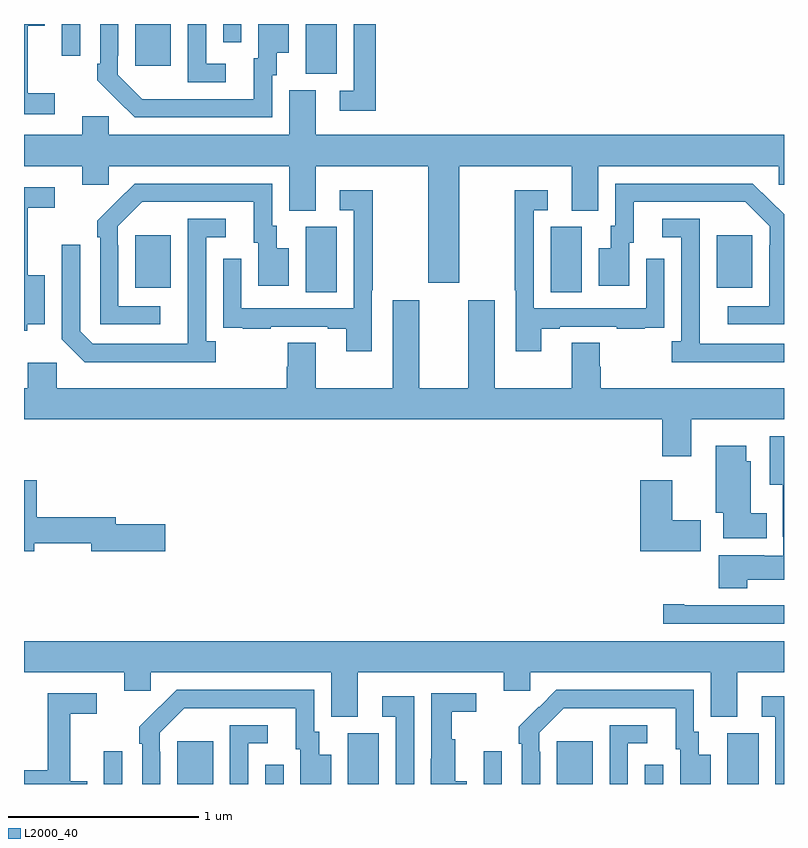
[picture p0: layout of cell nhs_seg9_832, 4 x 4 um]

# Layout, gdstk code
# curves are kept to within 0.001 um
import gdstk
lib = gdstk.Library(unit=1e-6, precision=1e-09)
def R(c, l, rs):  # rectangles x0, y0, x1, y1
    for r in rs: c.add(gdstk.rectangle(r[:2], r[2:], *l))
def P(c, l, *ps):  # polygons
    for p in ps: c.add(gdstk.Polygon(p, *l))
L2000_40 = (2000, 40)

nhs_seg9_832 = lib.new_cell('nhs_seg9_832')
R(nhs_seg9_832, L2000_40, [(155.421,1194.5,155.517,1194.673), (155.807,1194.5,155.995,1194.724), (156.27,1194.5,156.366,1194.601), (156.704,1194.5,156.868,1194.768), (157.419,1194.5,157.515,1194.673), (157.805,1194.5,157.993,1194.724), (158.268,1194.5,158.364,1194.601), (158.702,1194.5,158.866,1194.768), (156.482,1197.088,156.646,1197.432), (157.772,1197.088,157.936,1197.432), (155.585,1197.113,155.773,1197.388), (158.645,1197.113,158.833,1197.388), (156.482,1198.237,156.646,1198.5), (155.585,1198.281,155.773,1198.5), (155.199,1198.332,155.295,1198.5), (156.048,1198.404,156.144,1198.5)])
P(nhs_seg9_832, L2000_40, [(156.851,1198.5),(156.735,1198.5),(156.735,1198.149),(156.663,1198.149),(156.663,1198.044),(156.851,1198.044)],
  [(156.306,1198.23),(156.331,1198.23),(156.331,1198.349),(156.394,1198.349),(156.394,1198.5),(156.233,1198.5),(156.233,1198.32),(156.209,1198.32),(156.209,1198.104),(155.622,1198.105),(155.493,1198.233),(155.493,1198.333),(155.496,1198.333),(155.496,1198.5),(155.4,1198.5),(155.4,1198.291),(155.385,1198.291),(155.385,1198.203),(155.582,1198.008),(156.306,1198.008)],
  [(156.061,1198.29),(155.958,1198.29),(155.958,1198.5),(155.862,1198.5),(155.862,1198.194),(156.061,1198.194)],
  [(155.161,1198.135),(155.021,1198.135),(155.021,1198.49),(155.11,1198.49),(155.11,1198.5),(155,1198.5),(155,1198.026),(155.161,1198.026)],
  [(157.291,1197.752),(157.883,1197.752),(157.883,1197.517),(158.023,1197.517),(158.023,1197.752),(158.973,1197.752),(158.973,1197.654),(159,1197.654),(159,1197.916),(156.535,1197.916),(156.535,1198.152),(156.395,1198.152),(156.395,1197.916),(155.445,1197.916),(155.445,1198.014),(155.306,1198.014),(155.306,1197.916),(155,1197.916),(155,1197.752),(155.306,1197.752),(155.306,1197.654),(155.445,1197.654),(155.445,1197.752),(156.395,1197.752),(156.395,1197.517),(156.535,1197.517),(156.535,1197.752),(157.127,1197.752),(157.127,1197.138),(157.291,1197.138)],
  [(155.716,1197.015),(155.496,1197.015),(155.496,1197.335),(155.493,1197.335),(155.493,1197.435),(155.622,1197.564),(156.209,1197.564),(156.209,1197.348),(156.233,1197.348),(156.233,1197.123),(156.394,1197.123),(156.394,1197.319),(156.331,1197.319),(156.331,1197.438),(156.306,1197.438),(156.306,1197.66),(155.582,1197.66),(155.385,1197.465),(155.385,1197.377),(155.4,1197.377),(155.4,1196.919),(155.716,1196.919)],
  [(159,1197.498),(158.836,1197.66),(158.112,1197.66),(158.112,1197.438),(158.087,1197.438),(158.087,1197.319),(158.024,1197.319),(158.024,1197.123),(158.185,1197.123),(158.185,1197.348),(158.209,1197.348),(158.209,1197.564),(158.797,1197.564),(158.925,1197.435),(158.925,1197.335),(158.922,1197.335),(158.922,1197.015),(158.703,1197.015),(158.703,1196.919),(159,1196.919)],
  [(155.016,1196.921),(155.11,1196.921),(155.11,1197.178),(155.021,1197.178),(155.021,1197.534),(155.161,1197.534),(155.161,1197.642),(155,1197.642),(155,1196.886),(155.016,1196.886)],
  [(157.723,1196.895),(157.819,1196.895),(157.819,1196.907),(158.119,1196.907),(158.119,1196.895),(158.267,1196.895),(158.267,1196.901),(158.369,1196.901),(158.369,1197.01),(158.37,1197.01),(158.37,1197.265),(158.274,1197.265),(158.274,1197.003),(157.683,1197.003),(157.683,1197.519),(157.756,1197.519),(157.756,1197.625),(157.582,1197.625),(157.582,1197.1),(157.587,1197.1),(157.587,1196.778),(157.723,1196.778)],
  [(156.831,1197.1),(156.836,1197.1),(156.836,1197.625),(156.663,1197.625),(156.663,1197.519),(156.735,1197.519),(156.735,1197.003),(156.144,1197.003),(156.144,1197.265),(156.048,1197.265),(156.048,1197.01),(156.049,1197.01),(156.049,1196.901),(156.151,1196.901),(156.151,1196.895),(156.299,1196.895),(156.299,1196.907),(156.599,1196.907),(156.599,1196.895),(156.695,1196.895),(156.695,1196.778),(156.831,1196.778)],
  [(156.01,1196.83),(155.958,1196.83),(155.958,1197.378),(156.061,1197.378),(156.061,1197.474),(155.862,1197.474),(155.861,1196.817),(155.361,1196.817),(155.295,1196.883),(155.295,1197.337),(155.199,1197.337),(155.199,1196.841),(155.32,1196.72),(156.01,1196.72)],
  [(159,1196.817),(158.557,1196.817),(158.557,1197.017),(158.556,1197.017),(158.556,1197.474),(158.358,1197.474),(158.358,1197.378),(158.46,1197.378),(158.46,1196.83),(158.409,1196.83),(158.409,1196.72),(159,1196.72)],
  [(158.512,1196.42),(159,1196.42),(159,1196.584),(158.036,1196.584),(158.036,1196.697),(158.031,1196.697),(158.031,1196.822),(157.883,1196.822),(157.883,1196.584),(157.477,1196.584),(157.477,1197.046),(157.337,1197.046),(157.337,1196.584),(157.081,1196.584),(157.081,1197.046),(156.941,1197.046),(156.941,1196.584),(156.535,1196.584),(156.535,1196.822),(156.388,1196.822),(156.388,1196.697),(156.383,1196.697),(156.383,1196.584),(155.172,1196.584),(155.172,1196.716),(155.021,1196.716),(155.021,1196.584),(155,1196.584),(155,1196.42),(158.36,1196.42),(158.36,1196.226),(158.512,1196.226)],
  [(158.806,1195.575),(159,1195.575),(159,1196.329),(158.924,1196.329),(158.924,1196.075),(158.993,1196.075),(158.993,1195.801),(158.997,1195.801),(158.997,1195.701),(158.897,1195.701),(158.897,1195.705),(158.657,1195.705),(158.657,1195.529),(158.806,1195.529)],
  [(158.908,1195.924),(158.824,1195.924),(158.824,1196.199),(158.8,1196.199),(158.8,1196.281),(158.642,1196.281),(158.642,1195.928),(158.681,1195.928),(158.681,1195.793),(158.908,1195.793)],
  [(155.053,1195.768),(155.354,1195.768),(155.354,1195.726),(155.743,1195.726),(155.743,1195.868),(155.482,1195.868),(155.482,1195.904),(155.066,1195.904),(155.066,1196.098),(155,1196.098),(155,1195.724),(155.053,1195.724)],
  [(158.563,1195.887),(158.413,1195.887),(158.413,1196.098),(158.243,1196.098),(158.243,1195.724),(158.563,1195.724)],
  [(159,1195.44),(158.476,1195.44),(158.476,1195.445),(158.364,1195.445),(158.364,1195.344),(159,1195.344)],
  [(155,1195.088),(155.528,1195.088),(155.528,1194.99),(155.667,1194.99),(155.667,1195.088),(156.617,1195.088),(156.617,1194.853),(156.757,1194.853),(156.757,1195.088),(157.526,1195.088),(157.526,1194.99),(157.665,1194.99),(157.665,1195.088),(158.615,1195.088),(158.615,1194.853),(158.755,1194.853),(158.755,1195.088),(159,1195.088),(159,1195.252),(155,1195.252)],
  [(155.718,1194.671),(155.715,1194.671),(155.715,1194.771),(155.844,1194.9),(156.431,1194.9),(156.431,1194.684),(156.455,1194.684),(156.455,1194.5),(156.616,1194.5),(156.616,1194.655),(156.553,1194.655),(156.553,1194.774),(156.528,1194.774),(156.528,1194.996),(155.804,1194.996),(155.607,1194.801),(155.607,1194.713),(155.622,1194.713),(155.622,1194.5),(155.718,1194.5)],
  [(157.716,1194.671),(157.713,1194.671),(157.713,1194.771),(157.842,1194.9),(158.429,1194.9),(158.429,1194.684),(158.453,1194.684),(158.453,1194.5),(158.614,1194.5),(158.614,1194.655),(158.551,1194.655),(158.551,1194.774),(158.526,1194.774),(158.526,1194.996),(157.802,1194.996),(157.605,1194.801),(157.605,1194.713),(157.62,1194.713),(157.62,1194.5),(157.716,1194.5)],
  [(157.33,1194.514),(157.27,1194.514),(157.27,1194.736),(157.252,1194.736),(157.252,1194.881),(157.381,1194.881),(157.381,1194.978),(157.143,1194.978),(157.143,1194.632),(157.142,1194.632),(157.142,1194.5),(157.33,1194.5)],
  [(155.332,1194.514),(155.243,1194.514),(155.243,1194.87),(155.383,1194.87),(155.383,1194.978),(155.125,1194.978),(155.125,1194.572),(155,1194.572),(155,1194.5),(155.332,1194.5)],
  [(157.053,1194.961),(156.885,1194.961),(156.885,1194.855),(156.957,1194.855),(156.957,1194.5),(157.053,1194.5)],
  [(159,1194.961),(158.883,1194.961),(158.883,1194.855),(158.955,1194.855),(158.955,1194.5),(159,1194.5)],
  [(158.178,1194.714),(158.281,1194.714),(158.281,1194.81),(158.082,1194.81),(158.082,1194.5),(158.178,1194.5)],
  [(156.18,1194.714),(156.283,1194.714),(156.283,1194.81),(156.084,1194.81),(156.084,1194.5),(156.18,1194.5)])

lib.write_gds('nhs_seg9_832.gds')
